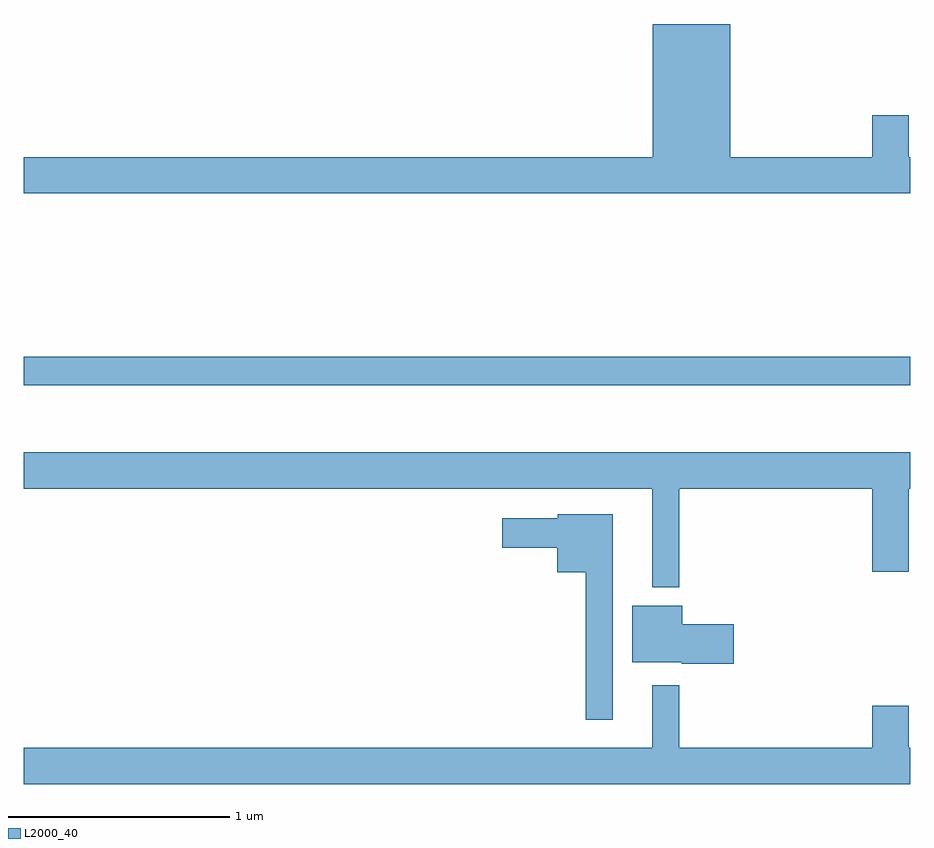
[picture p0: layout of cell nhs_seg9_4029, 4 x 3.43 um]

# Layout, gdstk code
import gdstk
lib = gdstk.Library(unit=1e-6, precision=1e-09)
def R(c, l, rs):  # rectangles x0, y0, x1, y1
    for r in rs: c.add(gdstk.rectangle(r[:2], r[2:], *l))
def P(c, l, *ps):  # polygons
    for p in ps: c.add(gdstk.Polygon(p, *l))
L2000_40 = (2000, 40)

nhs_seg9_4029 = lib.new_cell('nhs_seg9_4029')
R(nhs_seg9_4029, L2000_40, [(341,1212.87,345,1212.998)])
P(nhs_seg9_4029, L2000_40, [(345,1213.9),(344.992,1213.9),(344.992,1214.089),(344.828,1214.089),(344.828,1213.9),(344.188,1213.9),(344.188,1214.5),(343.838,1214.5),(343.838,1213.9),(341,1213.9),(341,1213.736),(345,1213.736)],
  [(343.957,1212.404),(344.828,1212.404),(344.828,1212.03),(344.992,1212.03),(344.992,1212.404),(345,1212.404),(345,1212.568),(341,1212.568),(341,1212.404),(343.835,1212.404),(343.835,1211.96),(343.957,1211.96)],
  [(343.657,1212.289),(343.41,1212.289),(343.41,1212.271),(343.158,1212.271),(343.158,1212.137),(343.406,1212.137),(343.406,1212.026),(343.536,1212.026),(343.536,1211.361),(343.657,1211.361)],
  [(344.203,1211.792),(343.972,1211.792),(343.972,1211.875),(343.745,1211.875),(343.745,1211.621),(343.968,1211.621),(343.968,1211.614),(344.203,1211.614)],
  [(345,1211.236),(344.992,1211.236),(344.992,1211.425),(344.828,1211.425),(344.828,1211.236),(343.957,1211.236),(343.957,1211.518),(343.835,1211.518),(343.835,1211.236),(341,1211.236),(341,1211.072),(345,1211.072)])

lib.write_gds('nhs_seg9_4029.gds')
